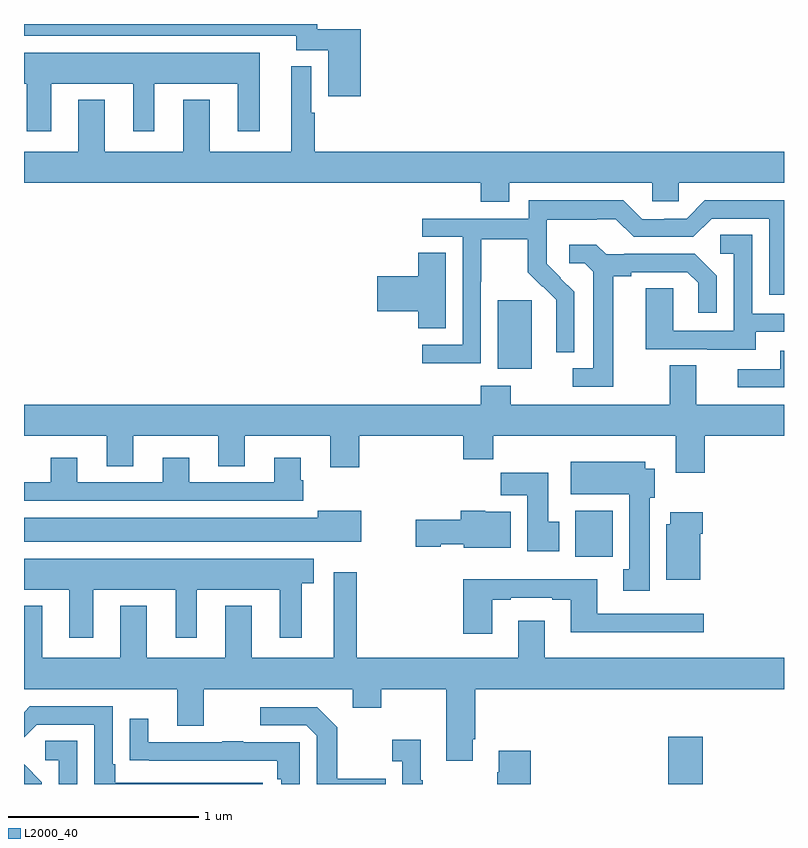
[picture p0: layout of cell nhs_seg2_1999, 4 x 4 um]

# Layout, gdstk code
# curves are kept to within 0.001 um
import gdstk
lib = gdstk.Library(unit=1e-6, precision=1e-09)
def R(c, l, rs):  # rectangles x0, y0, x1, y1
    for r in rs: c.add(gdstk.rectangle(r[:2], r[2:], *l))
def P(c, l, *ps):  # polygons
    for p in ps: c.add(gdstk.Polygon(p, *l))
L2000_40 = (2000, 40)

nhs_seg2_1999 = lib.new_cell('nhs_seg2_1999')
R(nhs_seg2_1999, L2000_40, [(218.39,649.8,218.573,650.05), (217.901,650.996,218.098,651.238), (217.493,651.986,217.672,652.347)])
P(nhs_seg2_1999, L2000_40, [(216.773,653.773),(216.544,653.773),(216.544,653.8),(215,653.8),(215,653.738),(216.434,653.738),(216.434,653.663),(216.602,653.663),(216.602,653.421),(216.773,653.421)],
  [(215.143,653.486),(215.576,653.486),(215.576,653.235),(215.686,653.235),(215.686,653.486),(216.125,653.486),(216.125,653.235),(216.241,653.235),(216.241,653.65),(215,653.65),(215,653.486),(215.015,653.486),(215.015,653.235),(215.143,653.235)],
  [(217.555,652.964),(218.307,652.964),(218.307,652.866),(218.445,652.866),(218.445,652.964),(219,652.964),(219,653.128),(216.529,653.128),(216.529,653.333),(216.511,653.333),(216.511,653.578),(216.407,653.578),(216.407,653.128),(215.977,653.128),(215.977,653.401),(215.837,653.401),(215.837,653.128),(215.425,653.128),(215.425,653.401),(215.285,653.401),(215.285,653.128),(215,653.128),(215,652.964),(217.403,652.964),(217.403,652.865),(217.555,652.865)],
  [(217.404,652.444),(217.407,652.444),(217.407,652.668),(217.651,652.668),(217.651,652.493),(217.728,652.416),(217.731,652.419),(217.802,652.349),(217.802,652.226),(217.8,652.226),(217.8,652.072),(217.896,652.072),(217.896,652.39),(217.75,652.538),(217.75,652.635),(217.752,652.635),(217.752,652.769),(218.015,652.769),(218.015,652.773),(218.115,652.773),(218.208,652.68),(218.523,652.68),(218.619,652.776),(218.922,652.776),(218.922,652.374),(219,652.374),(219,652.872),(218.583,652.872),(218.487,652.776),(218.369,652.776),(218.369,652.773),(218.253,652.773),(218.153,652.873),(217.656,652.873),(217.656,652.776),(217.095,652.776),(217.095,652.68),(217.308,652.68),(217.308,652.113),(217.095,652.113),(217.095,652.015),(217.404,652.015)],
  [(218.851,652.179),(219,652.179),(219,652.275),(218.832,652.275),(218.832,652.691),(218.664,652.691),(218.664,652.59),(218.736,652.59),(218.736,652.185),(218.418,652.185),(218.418,652.409),(218.273,652.409),(218.273,652.089),(218.597,652.089),(218.597,652.085),(218.851,652.085)],
  [(218.101,652.472),(218.197,652.472),(218.197,652.494),(218.492,652.494),(218.549,652.437),(218.549,652.281),(218.646,652.281),(218.646,652.474),(218.53,652.59),(218.158,652.59),(218.158,652.587),(218.064,652.587),(218.012,652.639),(217.869,652.639),(217.869,652.542),(217.95,652.542),(217.997,652.495),(217.997,651.987),(217.887,651.987),(217.887,651.891),(218.101,651.891)],
  [(217.219,652.595),(217.076,652.595),(217.076,652.472),(216.858,652.472),(216.858,652.289),(217.076,652.289),(217.076,652.198),(217.219,652.198)],
  [(219,652.08),(218.981,652.08),(218.981,651.984),(218.757,651.984),(218.757,651.888),(219,651.888)],
  [(218.582,651.632),(219,651.632),(219,651.796),(218.539,651.796),(218.539,652.004),(218.399,652.004),(218.399,651.796),(217.563,651.796),(217.563,651.895),(217.403,651.895),(217.403,651.796),(215,651.796),(215,651.632),(215.435,651.632),(215.435,651.472),(215.575,651.472),(215.575,651.632),(216.023,651.632),(216.023,651.472),(216.163,651.472),(216.163,651.632),(216.611,651.632),(216.611,651.468),(216.764,651.468),(216.764,651.632),(217.313,651.632),(217.313,651.508),(217.469,651.508),(217.469,651.632),(218.429,651.632),(218.429,651.438),(218.582,651.438)],
  [(216.47,651.399),(216.457,651.399),(216.457,651.517),(216.317,651.517),(216.317,651.387),(215.869,651.387),(215.869,651.517),(215.729,651.517),(215.729,651.387),(215.281,651.387),(215.281,651.517),(215.141,651.517),(215.141,651.387),(215,651.387),(215,651.291),(216.47,651.291)],
  [(218.293,651.306),(218.32,651.306),(218.32,651.46),(218.269,651.46),(218.269,651.496),(217.877,651.496),(217.877,651.326),(218.186,651.326),(218.186,650.93),(218.153,650.93),(218.153,650.817),(218.293,650.817)],
  [(217.816,651.18),(217.759,651.18),(217.759,651.438),(217.51,651.438),(217.51,651.32),(217.649,651.32),(217.649,651.024),(217.816,651.024)],
  [(217.561,651.232),(217.428,651.232),(217.428,651.238),(217.298,651.238),(217.298,651.192),(217.062,651.192),(217.062,651.05),(217.194,651.05),(217.194,651.062),(217.314,651.062),(217.314,651.044),(217.561,651.044)],
  [(216.775,651.238),(216.545,651.238),(216.545,651.202),(215,651.202),(215,651.074),(216.775,651.074)],
  [(218.56,651.116),(218.573,651.116),(218.573,651.229),(218.402,651.229),(218.402,651.168),(218.381,651.168),(218.381,650.876),(218.56,650.876)],
  [(215.365,650.822),(215.798,650.822),(215.798,650.571),(215.908,650.571),(215.908,650.822),(216.347,650.822),(216.347,650.571),(216.463,650.571),(216.463,650.857),(216.526,650.857),(216.526,650.986),(215,650.986),(215,650.822),(215.237,650.822),(215.237,650.571),(215.365,650.571)],
  [(217.363,650.035),(217.376,650.035),(217.376,650.3),(219,650.3),(219,650.464),(217.741,650.464),(217.741,650.659),(217.601,650.659),(217.601,650.464),(216.751,650.464),(216.751,650.914),(216.629,650.914),(216.629,650.464),(216.199,650.464),(216.199,650.737),(216.059,650.737),(216.059,650.464),(215.647,650.464),(215.647,650.737),(215.507,650.737),(215.507,650.464),(215.095,650.464),(215.095,650.737),(215,650.737),(215,650.3),(215.807,650.3),(215.807,650.106),(215.947,650.106),(215.947,650.3),(216.731,650.3),(216.731,650.201),(216.879,650.201),(216.879,650.3),(217.223,650.3),(217.223,649.923),(217.363,649.923)],
  [(217.465,650.769),(217.561,650.769),(217.561,650.781),(217.781,650.781),(217.781,650.769),(217.877,650.769),(217.877,650.6),(218.578,650.6),(218.578,650.697),(218.017,650.697),(218.017,650.878),(217.313,650.878),(217.313,650.592),(217.465,650.592)],
  [(216.256,649.806),(215.479,649.806),(215.479,649.903),(215.466,649.903),(215.466,650.208),(215.031,650.208),(215,650.177),(215,650.045),(215.067,650.112),(215.37,650.112),(215.37,649.8),(216.256,649.8)],
  [(216.905,649.827),(216.649,649.827),(216.649,650.099),(216.543,650.205),(216.243,650.205),(216.243,650.109),(216.486,650.109),(216.54,650.055),(216.54,649.8),(216.905,649.8)],
  [(216.45,650.019),(216.155,650.019),(216.155,650.024),(216.043,650.024),(216.043,650.019),(215.653,650.019),(215.653,650.143),(215.557,650.143),(215.557,649.924),(215.659,649.924),(215.659,649.923),(216.334,649.923),(216.334,649.826),(216.354,649.826),(216.354,649.8),(216.45,649.8)],
  [(217.099,649.819),(217.087,649.819),(217.087,650.032),(216.939,650.032),(216.939,649.919),(216.99,649.919),(216.99,649.8),(217.099,649.8)],
  [(215.28,650.027),(215.112,650.027),(215.112,649.926),(215.184,649.926),(215.184,649.8),(215.28,649.8)],
  [(217.667,649.975),(217.499,649.975),(217.499,649.862),(217.492,649.862),(217.492,649.8),(217.667,649.8)],
  [(215.094,649.81),(215,649.904),(215,649.8),(215.094,649.8)])

lib.write_gds('nhs_seg2_1999.gds')
